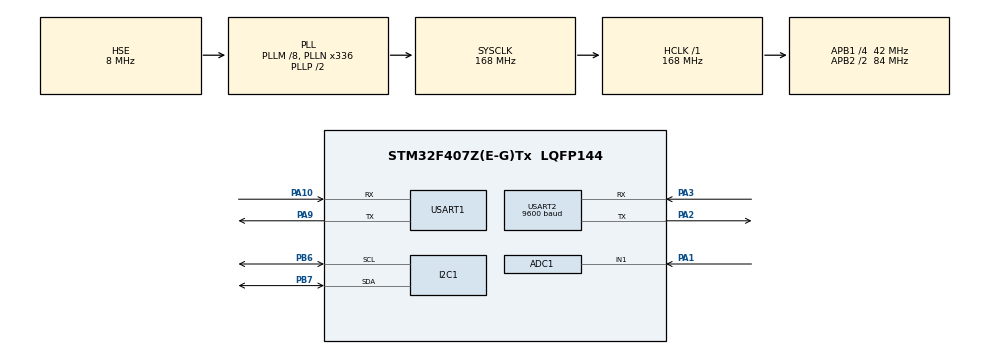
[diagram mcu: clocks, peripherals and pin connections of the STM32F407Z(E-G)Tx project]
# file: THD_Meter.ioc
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ADC1.Channel-2\#ChannelRegularConversion=ADC_CHANNEL_1
ADC1.DMAContinuousRequests=ENABLE
ADC1.ExternalTrigConv=ADC_EXTERNALTRIGCONV_T3_TRGO
ADC1.InjNumberOfConversion=0
ADC1.NbrOfConversionFlag=1
ADC1.Rank-2\#ChannelRegularConversion=1
ADC1.SamplingTime-2\#ChannelRegularConversion=ADC_SAMPLETIME_84CYCLES
ADC1.master=1
Dma.ADC1.0.Direction=DMA_PERIPH_TO_MEMORY
Dma.ADC1.0.FIFOMode=DMA_FIFOMODE_DISABLE
Dma.ADC1.0.Instance=DMA2_Stream0
Dma.ADC1.0.MemDataAlignment=DMA_MDATAALIGN_HALFWORD
Dma.ADC1.0.MemInc=DMA_MINC_ENABLE
Dma.ADC1.0.Mode=DMA_CIRCULAR
Dma.ADC1.0.PeriphDataAlignment=DMA_PDATAALIGN_HALFWORD
Dma.ADC1.0.PeriphInc=DMA_PINC_DISABLE
Dma.ADC1.0.Priority=DMA_PRIORITY_LOW
Dma.Request0=ADC1
Mcu.Family=STM32F4
Mcu.Name=STM32F407Z(E-G)Tx
Mcu.Package=LQFP144
NVIC.DMA2_Stream0_IRQn=true\:0\:0\:false\:false\:true\:false\:true\:true
NVIC.PriorityGroup=NVIC_PRIORITYGROUP_4
PA1.Signal=ADCx_IN1
PA10.Mode=Asynchronous
PA10.Signal=USART1_RX
PA2.Mode=Asynchronous
PA2.Signal=USART2_TX
PA3.Mode=Asynchronous
PA3.Signal=USART2_RX
PA9.Mode=Asynchronous
PA9.Signal=USART1_TX
PB6.Mode=I2C
PB6.Signal=I2C1_SCL
PB7.Mode=I2C
PB7.Signal=I2C1_SDA
PH0-OSC_IN.Mode=HSE-External-Oscillator
PH0-OSC_IN.Signal=RCC_OSC_IN
PH1-OSC_OUT.Mode=HSE-External-Oscillator
PH1-OSC_OUT.Signal=RCC_OSC_OUT
ProjectManager.HeapSize=0x200
ProjectManager.StackSize=0x400
ProjectManager.TargetToolchain=STM32CubeIDE
RCC.48MHZClocksFreq_Value=84000000
RCC.AHBFreq_Value=168000000
RCC.APB1CLKDivider=RCC_HCLK_DIV4
RCC.APB1Freq_Value=42000000
RCC.APB1TimFreq_Value=84000000
RCC.APB2CLKDivider=RCC_HCLK_DIV2
RCC.APB2Freq_Value=84000000
RCC.APB2TimFreq_Value=168000000
RCC.CortexFreq_Value=168000000
RCC.HCLKFreq_Value=168000000
RCC.HSE_VALUE=8000000
RCC.HSI_VALUE=16000000
RCC.LSE_VALUE=32768
RCC.PLLM=8
RCC.PLLN=336
RCC.PLLSourceVirtual=RCC_PLLSOURCE_HSE
RCC.SYSCLKFreq_VALUE=168000000
RCC.SYSCLKSource=RCC_SYSCLKSOURCE_PLLCLK
RCC.VCOOutputFreq_Value=336000000
SH.ADCx_IN1.0=ADC1_IN1,IN1
TIM3.Period=9
TIM3.Prescaler=83
TIM3.TIM_MasterOutputTrigger=TIM_TRGO_UPDATE
USART1.VirtualMode=VM_ASYNC
USART2.BaudRate=9600
USART2.VirtualMode=VM_ASYNC
VP_TIM3_VS_ClockSourceINT.Mode=Internal
board=custom

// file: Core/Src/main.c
/* USER CODE BEGIN Header */
/**
  ******************************************************************************
  * @file           : main.c
  * @brief          : Main program body
  ******************************************************************************
  * @attention
  *
  * Copyright (c) 2026 STMicroelectronics.
  * All rights reserved.
  *
  * This software is licensed under terms that can be found in the LICENSE file
  * in the root directory of this software component.
  * If no LICENSE file comes with this software, it is provided AS-IS.
  *
  ******************************************************************************
  */
/* USER CODE END Header */
#include "main.h"

/* USER CODE BEGIN Includes */
#include <stdio.h>
#include <math.h>
#include <string.h>
/* USER CODE END Includes */

/* USER CODE BEGIN PD */
#define ADC_BUF_SIZE 1024
#define FFT_SIZE 1024
#define SAMPLE_RATE 100000

/* SH1106 OLED (I2C) */
#define OLED_ADDR 0x3C
#define OLED_I2C_ADDR (OLED_ADDR << 1)
#define OLED_WIDTH 128
#define OLED_HEIGHT 64
#define OLED_PAGES (OLED_HEIGHT / 8)

/* 1 = 软件自测链路（假信号�? adc_buf），0 = 真实 ADC 采样 */
#define USE_ADC_SELF_TEST 0
#define USE_HANN_WINDOW 1

/* 调试打印开关：ADC raw / VREFINT 等联调打印，出报告时关掉 */
#define USE_DEBUG_PRINT 1
/* 0 = 一键测量（按 PA0 按键或串口发任意字符，才测一次）；1 = 连续测量（台上调试方便） */
#define USE_CONTINUOUS 0
/* 开机读一次内部 VREFINT 自检。注意：它内部会 HAL_ADC_Stop()，
 * 实测会干扰后面的 DMA 采集（导致 adc_buf 恒 0），平时务必保持 0！ */
#define USE_VREFINT_SELFTEST 0

/* 【基础/发挥 切换开关】这里只决定“上电默认模式”：
 *   0 = 基础部分：基频固定 1kHz、采样率固定约 102.4kHz（相干采样），多帧平均
 *   1 = 发挥部分：500Hz~50kHz 任意频率，两遍自适应采样率精测（走 measure_thd_auto）
 * 运行中可长按 PA0（≥0.8s）在两种模式间来回切换（见 wait_for_trigger）。 */
#define USE_ADVANCED_MODE 1

/* 蓝牙发送一周期波形。发挥部分手机显示波形需要它；
 * 若只想看 THD/频率/谐波结果，改成 0 可省掉约 0.8s 的串口发送时间。 */
#define BT_SEND_WAVE 1

/* 蓝牙波形格式：
 *   1 = bt_mcu App 二进制数据包（A5 + float32 + 校验 + 5A），
 *       手机 App 必须切到“专业调试”，配好接收数据包和 Y-T 波形控件；
 *   0 = 旧 ASCII 文本帧 "W,v0,...,v63\r\n"（普通串口助手/对话模式可读）。 */
#define BT_WAVE_FORMAT 1
/* 每周期发 50 点：App 默认窗口 100 点 → 显示约两个周期；
 * 每个点都要连带 6 个结果 float（共 31 字节），50 点约 1.6s，100 点会超过 3s。 */
#define BT_WAVE_POINTS 50

/* 多帧功率谱平均(Welch)：采 AVG_FRAMES 帧、平均“功率谱”后再算 THD，
 * 随机噪声地板降 1/√K（K=16 → 降 4 倍）。大信号(600mV)读数不变，
 * 收益主要在小信号档(30mV)。 */
#define AVG_FRAMES 16

/* 【Phase E 一键启动】板载按键：默认按常见 KEY_UP 接法（PA0，按下=高电平）。
 * 若你的板子按键在别的脚 / 以低电平为按下，改下面两行 + BTN_PRESSED 即可。 */
#define BTN_PORT     GPIOA
#define BTN_PIN      GPIO_PIN_0
#define BTN_PRESSED  GPIO_PIN_SET
#define LONG_PRESS_MS 800u   /* 按住超过这个时间 = 长按，切换基础/发挥模式 */

/* 波形还原显示区：OLED 底部 32 像素（page 4~7） */
#define WAVE_Y0 32
#define WAVE_H  32
#define WAVE_X  128
/* USER CODE END PD */

ADC_HandleTypeDef hadc1;
DMA_HandleTypeDef hdma_adc1;

I2C_HandleTypeDef hi2c1;

TIM_HandleTypeDef htim3;

UART_HandleTypeDef huart1;
UART_HandleTypeDef huart2;

/* USER CODE BEGIN PV */
uint16_t adc_buf[ADC_BUF_SIZE];
uint16_t adc_snap[ADC_BUF_SIZE];        /* 计算用快照：DMA 暂停时整帧拷出，算频谱/波形都读它 */
float fft_re[FFT_SIZE];
float fft_im[FFT_SIZE];
float fft_mag[FFT_SIZE / 2];
float g_thd;
float g_fund_freq;
float g_harm[5];
uint32_t g_sample_rate = SAMPLE_RATE;   /* 当前实际采样率：被 set_sample_rate 改，频率换算用它 */
int g_f0_bin = 0;                        /* 最近一次检测到的基波整数 bin（诊断用） */
volatile uint8_t g_advanced_mode = USE_ADVANCED_MODE;  /* 运行模式：1=发挥，0=基础；长按切换 */
static uint8_t oled_buf[OLED_PAGES][OLED_WIDTH];
static uint8_t oled_tx_buf[OLED_WIDTH + 1];
/* USER CODE END PV */

void SystemClock_Config(void);
static void MX_GPIO_Init(void);
static void MX_DMA_Init(void);
static void MX_USART1_UART_Init(void);
static void MX_TIM3_Init(void);
static void MX_I2C1_Init(void);
static void MX_ADC1_Init(void);
static void MX_USART2_UART_Init(void);

/* USER CODE BEGIN 0 */
int __io_putchar(int ch)
{
  HAL_UART_Transmit(&huart1, (uint8_t *)&ch, 1, HAL_MAX_DELAY);
  return ch;
}

/* ==================== SH1106 OLED 驱动（I2C�? ==================== */

/* 8x8 点阵字库，ASCII 0x20~0x7E，每行一个字节，bit7 在最左边 */
static const uint8_t font8x8[95][8] = {
  {0x00,0x00,0x00,0x00,0x00,0x00,0x00,0x00}, /* ' ' */
  {0x18,0x3C,0x3C,0x18,0x18,0x00,0x18,0x00}, /* '!' */
  {0x36,0x36,0x00,0x00,0x00,0x00,0x00,0x00}, /* '"' */
  {0x36,0x36,0x7F,0x36,0x7F,0x36,0x36,0x00}, /* '#' */
  {0x0C,0x3E,0x03,0x1E,0x30,0x1F,0x0C,0x00}, /* '$' */
  {0x00,0x63,0x33,0x18,0x0C,0x66,0x63,0x00}, /* '%' */
  {0x1C,0x36,0x1C,0x6E,0x3B,0x33,0x6E,0x00}, /* '&' */
  {0x06,0x06,0x03,0x00,0x00,0x00,0x00,0x00}, /* ''' */
  {0x18,0x0C,0x06,0x06,0x06,0x0C,0x18,0x00}, /* '(' */
  {0x06,0x0C,0x18,0x18,0x18,0x0C,0x06,0x00}, /* ')' */
  {0x00,0x66,0x3C,0xFF,0x3C,0x66,0x00,0x00}, /* '*' */
  {0x00,0x0C,0x0C,0x3F,0x0C,0x0C,0x00,0x00}, /* '+' */
  {0x00,0x00,0x00,0x00,0x00,0x0C,0x0C,0x06}, /* ',' */
  {0x00,0x00,0x00,0x3F,0x00,0x00,0x00,0x00}, /* '-' */
  {0x00,0x00,0x00,0x00,0x00,0x0C,0x0C,0x00}, /* '.' */
  {0x60,0x30,0x18,0x0C,0x06,0x03,0x01,0x00}, /* '/' */
  {0x3E,0x63,0x73,0x7B,0x6F,0x67,0x3E,0x00}, /* '0' */
  {0x0C,0x0E,0x0C,0x0C,0x0C,0x0C,0x3F,0x00}, /* '1' */
  {0x1E,0x33,0x30,0x1C,0x06,0x33,0x3F,0x00}, /* '2' */
  {0x1E,0x33,0x30,0x1C,0x30,0x33,0x1E,0x00}, /* '3' */
  {0x38,0x3C,0x36,0x33,0x7F,0x30,0x78,0x00}, /* '4' */
  {0x3F,0x03,0x1F,0x30,0x30,0x33,0x1E,0x00}, /* '5' */
  {0x1C,0x06,0x03,0x1F,0x33,0x33,0x1E,0x00}, /* '6' */
  {0x3F,0x33,0x30,0x18,0x0C,0x0C,0x0C,0x00}, /* '7' */
  {0x1E,0x33,0x33,0x1E,0x33,0x33,0x1E,0x00}, /* '8' */
  {0x1E,0x33,0x33,0x3E,0x30,0x18,0x0E,0x00}, /* '9' */
  {0x00,0x0C,0x0C,0x00,0x00,0x0C,0x0C,0x00}, /* ':' */
  {0x00,0x0C,0x0C,0x00,0x00,0x0C,0x0C,0x06}, /* ';' */
  {0x18,0x0C,0x06,0x03,0x06,0x0C,0x18,0x00}, /* '<' */
  {0x00,0x00,0x3F,0x00,0x00,0x3F,0x00,0x00}, /* '=' */
  {0x06,0x0C,0x18,0x30,0x18,0x0C,0x06,0x00}, /* '>' */
  {0x1E,0x33,0x30,0x18,0x0C,0x00,0x0C,0x00}, /* '?' */
  {0x3E,0x63,0x7B,0x7B,0x7B,0x03,0x1E,0x00}, /* '@' */
  {0x0C,0x1E,0x33,0x33,0x3F,0x33,0x33,0x00}, /* 'A' */
  {0x3F,0x66,0x66,0x3E,0x66,0x66,0x3F,0x00}, /* 'B' */
  {0x3C,0x66,0x03,0x03,0x03,0x66,0x3C,0x00}, /* 'C' */
  {0x1F,0x36,0x66,0x66,0x66,0x36,0x1F,0x00}, /* 'D' */
  {0x7F,0x46,0x16,0x1E,0x16,0x46,0x7F,0x00}, /* 'E' */
  {0x7F,0x46,0x16,0x1E,0x16,0x06,0x0F,0x00}, /* 'F' */
  {0x3C,0x66,0x03,0x03,0x73,0x66,0x7C,0x00}, /* 'G' */
  {0x33,0x33,0x33,0x3F,0x33,0x33,0x33,0x00}, /* 'H' */
  {0x1E,0x0C,0x0C,0x0C,0x0C,0x0C,0x1E,0x00}, /* 'I' */
  {0x78,0x30,0x30,0x30,0x33,0x33,0x1E,0x00}, /* 'J' */
  {0x67,0x66,0x36,0x1E,0x36,0x66,0x67,0x00}, /* 'K' */
  {0x0F,0x06,0x06,0x06,0x46,0x66,0x7F,0x00}, /* 'L' */
  {0x63,0x77,0x7F,0x7F,0x6B,0x63,0x63,0x00}, /* 'M' */
  {0x63,0x67,0x6F,0x7B,0x73,0x63,0x63,0x00}, /* 'N' */
  {0x1C,0x36,0x63,0x63,0x63,0x36,0x1C,0x00}, /* 'O' */
  {0x3F,0x66,0x66,0x3E,0x06,0x06,0x0F,0x00}, /* 'P' */
  {0x1E,0x33,0x33,0x33,0x3B,0x1E,0x38,0x00}, /* 'Q' */
  {0x3F,0x66,0x66,0x3E,0x36,0x66,0x67,0x00}, /* 'R' */
  {0x1E,0x33,0x07,0x0E,0x38,0x33,0x1E,0x00}, /* 'S' */
  {0x3F,0x2D,0x0C,0x0C,0x0C,0x0C,0x1E,0x00}, /* 'T' */
  {0x33,0x33,0x33,0x33,0x33,0x33,0x3F,0x00}, /* 'U' */
  {0x33,0x33,0x33,0x33,0x33,0x1E,0x0C,0x00}, /* 'V' */
  {0x63,0x63,0x63,0x6B,0x7F,0x77,0x63,0x00}, /* 'W' */
  {0x63,0x63,0x36,0x1C,0x1C,0x36,0x63,0x00}, /* 'X' */
  {0x33,0x33,0x33,0x1E,0x0C,0x0C,0x1E,0x00}, /* 'Y' */
  {0x7F,0x63,0x31,0x18,0x4C,0x66,0x7F,0x00}, /* 'Z' */
  {0x1E,0x06,0x06,0x06,0x06,0x06,0x1E,0x00}, /* '[' */
  {0x03,0x06,0x0C,0x18,0x30,0x60,0x40,0x00}, /* '\' */
  {0x1E,0x18,0x18,0x18,0x18,0x18,0x1E,0x00}, /* ']' */
  {0x08,0x1C,0x36,0x63,0x00,0x00,0x00,0x00}, /* '^' */
  {0x00,0x00,0x00,0x00,0x00,0x00,0x00,0xFF}, /* '_' */
  {0x0C,0x0C,0x18,0x00,0x00,0x00,0x00,0x00}, /* '`' */
  {0x00,0x00,0x1E,0x30,0x3E,0x33,0x6E,0x00}, /* 'a' */
  {0x07,0x06,0x06,0x3E,0x66,0x66,0x3B,0x00}, /* 'b' */
  {0x00,0x00,0x1E,0x33,0x03,0x33,0x1E,0x00}, /* 'c' */
  {0x38,0x30,0x30,0x3E,0x33,0x33,0x6E,0x00}, /* 'd' */
  {0x00,0x00,0x1E,0x33,0x3F,0x03,0x1E,0x00}, /* 'e' */
  {0x1C,0x36,0x06,0x0F,0x06,0x06,0x0F,0x00}, /* 'f' */
  {0x00,0x00,0x6E,0x33,0x33,0x3E,0x30,0x1F}, /* 'g' */
  {0x07,0x06,0x36,0x6E,0x66,0x66,0x67,0x00}, /* 'h' */
  {0x0C,0x00,0x0E,0x0C,0x0C,0x0C,0x1E,0x00}, /* 'i' */
  {0x30,0x00,0x30,0x30,0x30,0x33,0x33,0x1E}, /* 'j' */
  {0x07,0x06,0x66,0x36,0x1E,0x36,0x67,0x00}, /* 'k' */
  {0x0E,0x0C,0x0C,0x0C,0x0C,0x0C,0x1E,0x00}, /* 'l' */
  {0x00,0x00,0x33,0x7F,0x7F,0x6B,0x63,0x00}, /* 'm' */
  {0x00,0x00,0x1F,0x33,0x33,0x33,0x33,0x00}, /* 'n' */
  {0x00,0x00,0x1E,0x33,0x33,0x33,0x1E,0x00}, /* 'o' */
  {0x00,0x00,0x3B,0x66,0x66,0x3E,0x06,0x0F}, /* 'p' */
  {0x00,0x00,0x6E,0x33,0x33,0x3E,0x30,0x78}, /* 'q' */
  {0x00,0x00,0x3B,0x6E,0x66,0x06,0x0F,0x00}, /* 'r' */
  {0x00,0x00,0x3E,0x03,0x1E,0x30,0x1F,0x00}, /* 's' */
  {0x08,0x0C,0x3E,0x0C,0x0C,0x2C,0x18,0x00}, /* 't' */
  {0x00,0x00,0x33,0x33,0x33,0x33,0x6E,0x00}, /* 'u' */
  {0x00,0x00,0x33,0x33,0x33,0x1E,0x0C,0x00}, /* 'v' */
  {0x00,0x00,0x63,0x6B,0x7F,0x7F,0x36,0x00}, /* 'w' */
  {0x00,0x00,0x63,0x36,0x1C,0x36,0x63,0x00}, /* 'x' */
  {0x00,0x00,0x33,0x33,0x33,0x3E,0x30,0x1F}, /* 'y' */
  {0x00,0x00,0x3F,0x19,0x0C,0x26,0x3F,0x00}, /* 'z' */
  {0x38,0x0C,0x0C,0x07,0x0C,0x0C,0x38,0x00}, /* '{' */
  {0x18,0x18,0x18,0x00,0x18,0x18,0x18,0x00}, /* '|' */
  {0x07,0x0C,0x0C,0x38,0x0C,0x0C,0x07,0x00}, /* '}' */
  {0x6E,0x3B,0x00,0x00,0x00,0x00,0x00,0x00}, /* '~' */
};

/* 发一条命令：控制字节 0x00 + 命令字节 */
static void oled_write_cmd(uint8_t cmd)
{
  uint8_t data[2];
  data[0] = 0x00;
  data[1] = cmd;
  HAL_I2C_Master_Transmit(&hi2c1, OLED_I2C_ADDR, data, 2, 50);
}

static void oled_clear(void)
{
  memset(oled_buf, 0, sizeof(oled_buf));
}

/* 把整个帧缓冲刷到屏上�?8 �? page，每�? page �?列起始地�? + 128 字节数据 */
static void oled_update(void)
{
  for (uint8_t page = 0; page < OLED_PAGES; page++)
  {
    oled_write_cmd(0xB0 | page);   /* 页地�? */
    oled_write_cmd(0x02);          /* 列低 4 �? = 2（SH1106 左边�? 2 列空�? */
    oled_write_cmd(0x10);          /* 列高 4 �? = 0 */
    oled_tx_buf[0] = 0x40;         /* 控制字节：数�? */
    memcpy(&oled_tx_buf[1], oled_buf[page], OLED_WIDTH);
    HAL_I2C_Master_Transmit(&hi2c1, OLED_I2C_ADDR, oled_tx_buf, OLED_WIDTH + 1, 50);
  }
}

/* �? (x, page) 画一�? 8x8 字符；page �?"�?"�?0~7），每行 8 像素�? */
static void oled_draw_char(uint8_t x, uint8_t page, char c)
{
  if (c < 0x20 || c > 0x7E) c = ' ';
  const uint8_t *g = font8x8[c - 0x20];
  for (uint8_t row = 0; row < 8; row++)
  {
    uint8_t bits = g[row];               /* 这一行，bit0 在最�? */
    for (uint8_t col = 0; col < 8; col++)
    {
      if (bits & (0x01u << col))
      {
        oled_buf[page][x + col] |= (uint8_t)(1u << row);
      }
    }
  }
}

static void oled_draw_string(uint8_t x, uint8_t page, const char *s)
{
  while (*s)
  {
    oled_draw_char(x, page, *s++);
    x += 8;
    if (x >= OLED_WIDTH - 8) break;
  }
}

/* �? float 转成字符串（保留 decimals 位小数）。nano �? printf 不支�? %f，所以自己写 */
static void oled_ftoa(float value, int decimals, char *out)
{
  char buf[16];
  long pow10[6] = {1, 10, 100, 1000, 10000, 100000};
  if (decimals > 5) decimals = 5;

  int neg = (value < 0.0f);
  if (neg) value = -value;

  long scale = pow10[decimals];
  long ipart = (long)value;
  long fpart = (long)((value - (float)ipart) * (float)scale + 0.5f);
  if (fpart >= scale) { ipart++; fpart = 0; }

  int idx = 0;
  if (neg) buf[idx++] = '-';
  idx += sprintf(&buf[idx], "%ld", ipart);
  if (decimals > 0)
  {
    buf[idx++] = '.';
    for (int i = decimals - 1; i >= 0; i--)
    {
      long d = pow10[i];
      buf[idx++] = (char)('0' + (fpart / d) % 10);
    }
  }
  buf[idx] = '\0';
  strcpy(out, buf);
}

static void oled_init(void)
{
  static const uint8_t init_cmd[] = {
    0xAE,        /* 关显�? */
    0xD5, 0x80,  /* 时钟分频 */
    0xA8, 0x3F,  /* 复用�? 64 */
    0xD3, 0x00,  /* 显示偏移 0 */
    0x40,        /* 起始�? 0 */
    0xAD, 0x8B,  /* 内部 DC-DC �?（SH1106 特有�? */
    0x33,        /* 泵电�? 9.0V */
    0xA0,        /* 段重映射 */
    0xC0,        /* COM 扫描方向 */
    0xDA, 0x12,  /* COM 引脚配置 */
    0x81, 0xCF,  /* 对比�? */
    0xD9, 0xF1,  /* 预充�? */
    0xDB, 0x40,  /* VCOM �?�? */
    0xA4,        /* 关闭全显 */
    0xA6,        /* 正常显示 */
    0xAF,        /* �?显示 */
  };
  for (uint32_t i = 0; i < sizeof(init_cmd); i++)
  {
    oled_write_cmd(init_cmd[i]);
  }
  oled_clear();
  oled_update();
}

/* 迭代�?? radix-2 FFT：输�?? re[]/im[]（复数的实部虚部），原地变换 */
void fft(float *re, float *im, int n)
{
  /* �?? 1 步：位反转重排，把数据按 FFT �??要的顺序摆好 */
  for (int i = 1, j = 0; i < n; i++)
  {
    int bit = n >> 1;
    for (; j & bit; bit >>= 1) j ^= bit;
    j ^= bit;
    if (i < j)
    {
      float tr = re[i]; re[i] = re[j]; re[j] = tr;
      float ti = im[i]; im[i] = im[j]; im[j] = ti;
    }
  }
  /* �?? 2 步：蝶形运算，�?�层合并 */
  for (int len = 2; len <= n; len <<= 1)
  {
    float ang = -2.0f * 3.14159265358979f / len;
    float w_re = cosf(ang), w_im = sinf(ang);
    for (int i = 0; i < n; i += len)
    {
      float cur_re = 1.0f, cur_im = 0.0f;
      for (int k = 0; k < len / 2; k++)
      {
        int a = i + k;
        int b = a + len / 2;
        float tre = re[b] * cur_re - im[b] * cur_im;
        float tim = re[b] * cur_im + im[b] * cur_re;
        re[b] = re[a] - tre;
        im[b] = im[a] - tim;
        re[a] = re[a] + tre;
        im[a] = im[a] + tim;
        float nre = cur_re * w_re - cur_im * w_im;
        cur_im = cur_re * w_im + cur_im * w_re;
        cur_re = nre;
      }
    }
  }
}

/* 自测：软件�?�一个�?�基�??+2~5次谐波�?�的正弦，跑 FFT �?? THD，验证算法对不对 */
void run_fft_self_test(void)
{
  const float fs = 100000.0f;   /* 采样�?? 100kHz */
  const int f0_bin = 10;        /* 基波在第 10 �?? bin，即 976.56Hz */
  const float A1 = 1.0f, A2 = 0.05f, A3 = 0.03f, A4 = 0.02f, A5 = 0.01f;

  for (int n = 0; n < FFT_SIZE; n++)
  {
    float t = 2.0f * 3.14159265358979f * n / FFT_SIZE;
    fft_re[n] = A1 * sinf(f0_bin * t)
              + A2 * sinf(2 * f0_bin * t)
              + A3 * sinf(3 * f0_bin * t)
              + A4 * sinf(4 * f0_bin * t)
              + A5 * sinf(5 * f0_bin * t);
    fft_im[n] = 0.0f;
  }

  fft(fft_re, fft_im, FFT_SIZE);

  for (int k = 0; k < FFT_SIZE / 2; k++)
    fft_mag[k] = sqrtf(fft_re[k] * fft_re[k] + fft_im[k] * fft_im[k]);

  int f0 = 2;
  for (int k = 3; k < FFT_SIZE / 2; k++)
    if (fft_mag[k] > fft_mag[f0]) f0 = k;

  float fund = fft_mag[f0];
  float harm_power = 0.0f;
  for (int h = 2; h <= 5; h++)
    harm_power += fft_mag[f0 * h] * fft_mag[f0 * h];
  float thd = sqrtf(harm_power) / fund;

  printf("=== FFT 自测（软件造正弦）===\r\n");
  printf("基波 bin=%d 频率=%dHz\r\n", f0, (int)(f0 * fs / FFT_SIZE));
  printf("幅度(基波~5次): %d %d %d %d %d\r\n",
         (int)fft_mag[f0], (int)fft_mag[f0*2], (int)fft_mag[f0*3],
         (int)fft_mag[f0*4], (int)fft_mag[f0*5]);
  int t = (int)(thd * 100000.0f + 0.5f);
  printf("THD = %d.%03d%%\r\n", t / 1000, t % 1000);
}

/* 真实测量：读 ADC 缓冲 �?? 去直�?? �?? FFT �?? 找基�?? �?? �?? THD（结果存全局变量�?? */
/* 核心：adc_buf -> 去直流 ->（可选加汉宁窗）-> FFT -> 找基波 -> 算 THD
 * use_window=1 时加汉宁窗，压低非整数 bin 造成的频谱泄漏。
 * 谐波幅值用"主瓣能量求和"：在峰值附近 +/-2 个 bin 内累加能量，
 * 这样基频/谐波落在格子中间时也不会少算。结果存 g_thd/g_fund_freq/g_harm */
/* 设置 ADC 采样率：Fs = 84MHz / ((PSC+1)(ARR+1))，反算 TIM3 分频。
 * 定时器时钟 = 168MHz(APB1分频≠1时×2)... 实际 APB1=PCLK1*2 = 42MHz*2 = 84MHz。
 * 84MHz 只能整数分频，实际 Fs 取最近可达值；返回实际采样率（频率换算必须用它）。*/
uint32_t set_sample_rate(uint32_t fs_target)
{
  const uint32_t TIM_CLK = 84000000u;         /* APB1 定时器时钟 */
  if (fs_target < 1300u)       fs_target = 1300u;     /* ARR 上限 65536 → 最低 Fs */
  if (fs_target > TIM_CLK / 2u) fs_target = TIM_CLK / 2u;

  uint32_t k = (TIM_CLK + fs_target / 2u) / fs_target; /* 四舍五入求分频数 */
  if (k < 2u) k = 2u;
  if (k > 65536u) k = 65536u;

  htim3.Instance->PSC = 0u;                   /* 分频全放 ARR，分辨率最高 */
  htim3.Instance->ARR = k - 1u;
  htim3.Init.Prescaler = 0u;
  htim3.Init.Period = k - 1u;

  g_sample_rate = TIM_CLK / k;                /* 实际采样率 */
  return g_sample_rate;
}

/* 整帧快照：ADC 只由 TIM3 TRGO 触发，暂停 TIM3 就等于暂停采样。
 * ⚠️ 环形 DMA 里存的是"最近 N 点"的循环版本：物理上的“新旧接缝”
 *    （最新点与最老点之间差了整整一圈）落在数组中间的随机位置。
 *    汉宁窗两端为 0，若接缝在数组首尾会被压掉；若在中间，这个相位跳变
 *    会被窗完整加权 → 主瓣展宽、±2bin 抬升、频率被拉偏（非整数周期/帧时）。
 * 所以：停表 → 等正在进行的转换完成 → 读 NDTR 得到下一写入位置 k（=最老点），
 *       从 k 开始环形拷出，把接缝放到数组首尾（窗零点处）。 */
static void adc_snapshot(void)
{
  __HAL_TIM_DISABLE(&htim3);

  /* 等最后一次已触发的转换完成（ADC 转换约 0.7us），之后 DMA 不再写入 */
  for (volatile int i = 0; i < 600; i++) { __NOP(); }

  uint32_t nd = hdma_adc1.Instance->NDTR;
  uint32_t k = (ADC_BUF_SIZE - nd) & (ADC_BUF_SIZE - 1);   /* 最老样点的下标 */

  for (int n = 0; n < ADC_BUF_SIZE; n++)
  {
    uint32_t idx = (uint32_t)n + k;
    if (idx >= ADC_BUF_SIZE) idx -= ADC_BUF_SIZE;
    adc_snap[n] = adc_buf[idx];
  }
  __HAL_TIM_ENABLE(&htim3);
}

/* 时域过零测频（诊断用）：不依赖 FFT/bin/窗口，直接数快照里向上过零的间隔。
 * 与 FFT 结果对照，可以区分“采样率/硬件问题”还是“频谱分析问题”。 */
static float estimate_freq_zerocross(void)
{
  float mean = 0.0f;
  for (int n = 0; n < ADC_BUF_SIZE; n++) mean += adc_snap[n];
  mean /= (float)ADC_BUF_SIZE;

  int count = 0;
  float first_x = 0.0f, last_x = 0.0f;
  for (int n = 1; n < ADC_BUF_SIZE; n++)
  {
    float a = (float)adc_snap[n - 1] - mean;
    float b = (float)adc_snap[n] - mean;
    if (a < 0.0f && b >= 0.0f)
    {
      float x = (float)(n - 1) + a / (a - b);   /* 线性插值过零点位置 */
      if (count == 0) first_x = x;
      last_x = x;
      count++;
    }
  }
  if (count < 2) return 0.0f;
  return (float)(count - 1) * (float)g_sample_rate / (last_x - first_x);
}

/* 只做“算频谱”这一步：adc_snap -> 去直流 ->（可选加汉宁窗）-> FFT -> fft_mag[]
 * 单独抽出来是为了多帧平均复用：每帧只算频谱、累加功率。 */
static void compute_spectrum(int use_window)
{
  const float TWO_PI = 6.28318530717959f;

  adc_snapshot();

  /* 去直流，并（可选）加汉宁窗 */
  float mean = 0.0f;
  for (int n = 0; n < FFT_SIZE; n++) mean += adc_snap[n];
  mean /= (float)FFT_SIZE;

  for (int n = 0; n < FFT_SIZE; n++)
  {
    float w = 1.0f;
    if (use_window)
      w = 0.5f * (1.0f - cosf(TWO_PI * (float)n / (float)FFT_SIZE));
    fft_re[n] = ((float)adc_snap[n] - mean) * w;
    fft_im[n] = 0.0f;
  }

  fft(fft_re, fft_im, FFT_SIZE);

  for (int k = 0; k < FFT_SIZE / 2; k++)
    fft_mag[k] = sqrtf(fft_re[k] * fft_re[k] + fft_im[k] * fft_im[k]);
}

/* 只做“分析频谱”这一步：从 fft_mag[] 找基波、算归一化谐波幅值和 THD。
 * 结果存 g_thd/g_fund_freq/g_harm。多帧平均把功率平均好、开方回 fft_mag[] 后也调用它。 */
static void analyze_spectrum(int use_window)
{
  /* 找基波：低频段最大峰 */
  int f0 = 2;
  for (int k = 3; k < FFT_SIZE / 2; k++)
    if (fft_mag[k] > fft_mag[f0]) f0 = k;
  g_f0_bin = f0;

  /* 3) 修正基频频率：基频不落在整数 bin 上也能报准
   *    加汉宁窗时用汉宁窗专属的比值法（精确）：δ=(2R-1)/(R+1)，R=相邻格/峰值格
   *    不加窗时退回抛物线插值 */
  float f0_fine = (float)f0;
  if (f0 > 0 && f0 < FFT_SIZE / 2 - 1)
  {
    if (use_window)
    {
      float peak = fft_mag[f0];
      if (peak > 0.0f)
      {
        if (fft_mag[f0 + 1] >= fft_mag[f0 - 1])
        {
          float R = fft_mag[f0 + 1] / peak;
          f0_fine = (float)f0 + (2.0f * R - 1.0f) / (R + 1.0f);
        }
        else
        {
          float R = fft_mag[f0 - 1] / peak;
          f0_fine = (float)f0 - (2.0f * R - 1.0f) / (R + 1.0f);
        }
      }
    }
    else
    {
      float a = fft_mag[f0 - 1], b = fft_mag[f0], c = fft_mag[f0 + 1];
      float denom = a - 2.0f * b + c;
      if (denom != 0.0f) f0_fine = (float)f0 + 0.5f * (a - c) / denom;
    }
  }
  g_fund_freq = f0_fine * ((float)g_sample_rate / FFT_SIZE);
  g_harm[0] = 1.0f;

  /* 4) 主瓣能量求和（+/-2 bin）取各分量能量，再算归一化幅值与 THD */
  float p1 = 0.0f;
  for (int k = f0 - 2; k <= f0 + 2; k++)
    if (k > 0 && k < FFT_SIZE / 2) p1 += fft_mag[k] * fft_mag[k];

  float harm_power = 0.0f;
  for (int h = 2; h <= 5; h++)
  {
    int approx = (int)((float)f0 * h + 0.5f);
    int lo = approx - 2, hi = approx + 2;
    if (lo < 1) lo = 1;
    if (hi > FFT_SIZE / 2 - 1) hi = FFT_SIZE / 2 - 1;
    int pk = lo;
    for (int k = lo; k <= hi; k++) if (fft_mag[k] > fft_mag[pk]) pk = k;
    float ph = 0.0f;
    for (int k = pk - 2; k <= pk + 2; k++)
      if (k > 0 && k < FFT_SIZE / 2) ph += fft_mag[k] * fft_mag[k];
    g_harm[h - 1] = (p1 > 1.0f) ? sqrtf(ph / p1) : 0.0f;
    harm_power += ph;
  }

  g_thd = (p1 > 1.0f) ? sqrtf(harm_power / p1) : 0.0f;
}

/* 单帧测量：算频谱 + 分析（= 原 compute_thd 的行为，结果完全一致） */
float compute_thd(int use_window)
{
  compute_spectrum(use_window);
  analyze_spectrum(use_window);
  return g_thd;
}

/* 圆形 DMA 一直在后台采：等 >1 帧时间，保证 adc_buf 里全是"当前采样率"下的新数据 */
static void adc_wait_frame(void)
{
  uint32_t ms = (uint32_t)((FFT_SIZE * 1000u) / g_sample_rate) + 5u;
  HAL_Delay(ms);
}

/* 【多帧功率谱平均 Welch】采 frames 帧，累加每帧的功率谱 |X|²，平均后开方回 fft_mag[]，
 * 再走与单帧完全相同的 analyze_spectrum()。
 *   信号（基波+谐波）帧间相干 → 功率是常数，平均后原样保留；
 *   噪声帧间随机 → 平均后地板降 1/√frames（frames=16 → 降 4 倍）。
 * 平均是无偏的：大信号(600mV)读数不变，收益主要在小信号档(30mV)。
 * ⚠️ 必须平均“功率谱”：DMA 圆形缓冲帧间不同相，时域平均会把信号本身抵消掉。 */
float compute_thd_avg(int use_window, int frames)
{
  static float acc[FFT_SIZE / 2];      /* 功率累加器（2KB，放静态区，别占栈） */
  if (frames < 1) frames = 1;

  for (int k = 0; k < FFT_SIZE / 2; k++) acc[k] = 0.0f;
  for (int f = 0; f < frames; f++)
  {
    adc_wait_frame();                  /* 每帧都等一帧“新”数据 */
    compute_spectrum(use_window);
    for (int k = 0; k < FFT_SIZE / 2; k++)
      acc[k] += fft_mag[k] * fft_mag[k];
  }
  for (int k = 0; k < FFT_SIZE / 2; k++)
    fft_mag[k] = sqrtf(acc[k] / (float)frames);   /* 平均功率开方 → 等效“平均后的频谱” */

  analyze_spectrum(use_window);
  return g_thd;
}

/* 【Phase B 发挥核心】两遍自适应采样率 + 加窗，覆盖 500Hz~50kHz：
 *   pass1  用固定 Fs1=150kHz 粗测基频 f0（150k 奈奎斯特 75k > 50kHz，基波不混叠，
 *          且 500Hz 落在 bin3 以上，可被识别）——只为"知道 f0 大概多少"。
 *   选周期数 M：让 pass2 的 Fs2 = f0*N/M 落进 [~60k, 1.4M]，M 取整数（相干采样），
 *          并保证 5 次谐波不混叠（Fs2 ≥ 12·f0 → M ≤ N/12）且每周期 ≥12 点。
 *   pass2  用 Fs2 精测，基波/谐波正好落在整数 bin 上，泄漏最小；实际 TIM3 只能
 *          整数分频、且 f0 估计有误差，相干不完美 → 仍加汉宁窗 + 主瓣求和兜底。
 * 结果：g_thd / g_fund_freq / g_harm（与 compute_thd 同一套全局变量）。*/
void measure_thd_auto(void)
{
  /* ---- pass1：粗测 f0（多帧平均，小信号下 f0 也不会被噪声带偏）---- */
  set_sample_rate(150000u);
  compute_thd_avg(1, AVG_FRAMES);
  float f0 = g_fund_freq;
#if USE_DEBUG_PRINT
  {
    int fb = g_f0_bin;
    if (fb < 2) fb = 2;
    if (fb > FFT_SIZE / 2 - 3) fb = FFT_SIZE / 2 - 3;
    printf("[pass1] Fs=%lu f0=%dHz bin=%d zc=%dHz  m=%lu %lu %lu %lu %lu\r\n",
           (unsigned long)g_sample_rate,
           (int)(f0 + 0.5f), g_f0_bin,
           (int)(estimate_freq_zerocross() + 0.5f),
           (unsigned long)fft_mag[fb - 2], (unsigned long)fft_mag[fb - 1],
           (unsigned long)fft_mag[fb], (unsigned long)fft_mag[fb + 1],
           (unsigned long)fft_mag[fb + 2]);
  }
#endif
  if (f0 < 100.0f) f0 = 100.0f;          /* 保护：没测到基波时退回偏低值，M 会被夹到上限 */

  /* ---- 选整数周期数 M ---- */
  int M_min = (int)ceilf(f0 * (float)FFT_SIZE / 1400000.0f);  /* Fs2 ≤ 1.4MHz */
  if (M_min < 8) M_min = 8;              /* M≥8：基波与 2 次谐波至少隔 8 个 bin，主瓣不糊在一起 */
  int M_max = FFT_SIZE / 12;             /* =85：Fs2 ≥ 12·f0，5 次谐波(5f0)不混叠，每周期≥12点 */
  if (M_max < M_min) M_max = M_min;
  int M = (int)(f0 * (float)FFT_SIZE / 450000.0f + 0.5f);     /* 目标 Fs2≈450kHz（分辨率和余量都舒服） */
  if (M < M_min) M = M_min;
  if (M > M_max) M = M_max;

  uint32_t fs2 = (uint32_t)(f0 * (float)FFT_SIZE / (float)M + 0.5f);

  /* ---- pass2：精测（同样多帧功率谱平均，压低小信号噪声地板）---- */
  set_sample_rate(fs2);                  /* 写 TIM3；实际可达 Fs 存 g_sample_rate */
#if USE_DEBUG_PRINT
  printf("[pass2] M=%d fs_target=%lu fs=%lu\r\n",
         M, (unsigned long)fs2, (unsigned long)g_sample_rate);
#endif
  compute_thd_avg(1, AVG_FRAMES);        /* g_thd/g_fund_freq/g_harm 就绪 */
}

/* 【调试】临时读一次芯片内部 VREFINT 通道，判断 ADC 内核 + 参考电压(VDDA) 是否正常。
 * 完全不用接任何外部线；健康时约 1.21V -> 约 1500 个码字。
 * 用完把 ADC 恢复成 PA1 通道 + 上升沿外部触发。 */
uint32_t adc_read_vrefint_raw(void)
{
  ADC_ChannelConfTypeDef cfg = {0};
  uint32_t val = 0xFFFFFFFFu;

  HAL_ADC_Stop(&hadc1);

  /* 打开内部基准通路，等它上电稳定，再临时改成软件触发 */
  ADC->CCR |= ADC_CCR_TSVREFE;
  HAL_Delay(20u);
  hadc1.Instance->CR2 &= ~ADC_CR2_EXTEN;

  cfg.Channel = ADC_CHANNEL_VREFINT;
  cfg.Rank = 1;
  cfg.SamplingTime = ADC_SAMPLETIME_480CYCLES;
  if (HAL_ADC_ConfigChannel(&hadc1, &cfg) == HAL_OK)
  {
    for (int i = 0; i < 3; i++)   /* 连读 3 次，丢掉前几次预热值 */
    {
      if (HAL_ADC_Start(&hadc1) == HAL_OK)
      {
        if (HAL_ADC_PollForConversion(&hadc1, 20u) == HAL_OK)
          val = HAL_ADC_GetValue(&hadc1);
        HAL_ADC_Stop(&hadc1);
      }
    }
  }

  /* 恢复：PA1 通道 + 上升沿外部触发 */
  cfg.Channel = ADC_CHANNEL_1;
  cfg.Rank = 1;
  cfg.SamplingTime = ADC_SAMPLETIME_3CYCLES;
  HAL_ADC_ConfigChannel(&hadc1, &cfg);
  hadc1.Instance->CR2 |= ADC_CR2_EXTEN_0;

  return val;
}

/* 链路自测：软件�??"基波 + 2~5次谐�?"�? adc_buf，走 measure_thd()�?
 * 验证 FFT->THD->显示 整条链（不经过真�? ADC 硬件）�??
 * 期望：THD �? 6.245%，基�? �? 976.6Hz（bin=10�? */
void run_adc_chain_self_test(void)
{
  const float A1 = 400.0f;
  const float f0b = 10.24f;   /* 1000Hz：故意落在非整数 bin，模拟真机 1kHz 的频谱泄漏 */
  const float h2 = 0.05f, h3 = 0.03f, h4 = 0.02f, h5 = 0.01f;
  for (int n = 0; n < ADC_BUF_SIZE; n++)
  {
    float t = 2.0f * 3.14159265358979f * n / ADC_BUF_SIZE;
    float v = 2048.0f
            + A1 * sinf(f0b * t)
            + h2 * A1 * sinf(2.0f * f0b * t)
            + h3 * A1 * sinf(3.0f * f0b * t)
            + h4 * A1 * sinf(4.0f * f0b * t)
            + h5 * A1 * sinf(5.0f * f0b * t);
    if (v < 0.0f) v = 0.0f;
    if (v > 4095.0f) v = 4095.0f;
    adc_buf[n] = (uint16_t)(v + 0.5f);
  }
}

/* 【Phase B 自测】纯软件验证"两遍自适应采样率"逻辑（不接硬件）：
 * 对一组真值频率，按当前 g_sample_rate 合成"基波+2~5次谐波"填 adc_buf，
 * 跑完整 pass1→选 M→pass2 流程，打印测得的 f0 与 THD（理论 THD=6.245%）。
 * 用它验证：M 选择、TIM3 整数分频后的相干残差、加窗兜底是否达标。
 * 注意：必须先 set_sample_rate() 再 synth()，否则合成用的是旧采样率。 */
static void synth_signal(float f_true, float amp)
{
  const float h2 = 0.05f, h3 = 0.03f, h4 = 0.02f, h5 = 0.01f;
  for (int n = 0; n < ADC_BUF_SIZE; n++)
  {
    float ph = 6.28318530717959f * f_true * (float)n / (float)g_sample_rate;
    float v = 2048.0f + amp * (sinf(ph)
             + h2 * sinf(2.0f * ph) + h3 * sinf(3.0f * ph)
             + h4 * sinf(4.0f * ph) + h5 * sinf(5.0f * ph));
    if (v < 0.0f) v = 0.0f;
    if (v > 4095.0f) v = 4095.0f;
    adc_buf[n] = (uint16_t)(v + 0.5f);
  }
}

void run_auto_selftest(void)
{
  const float freqs[] = { 500.0f, 1000.0f, 5000.0f, 10000.0f, 50000.0f };
  const int NF = (int)(sizeof(freqs) / sizeof(freqs[0]));
  printf("=== Phase B 自适应采样率自测（理论 THD=6.245%%）===\r\n");
  for (int i = 0; i < NF; i++)
  {
    float f = freqs[i];
    /* pass1 */
    set_sample_rate(150000u);
    synth_signal(f, 400.0f);
    compute_thd(1);
    float f0_est = g_fund_freq;
    /* 选 M（与 measure_thd_auto 同一套规则） */
    int M_min = (int)ceilf(f0_est * (float)FFT_SIZE / 1400000.0f);
    if (M_min < 8) M_min = 8;
    int M_max = FFT_SIZE / 12;
    if (M_max < M_min) M_max = M_min;
    int M = (int)(f0_est * (float)FFT_SIZE / 450000.0f + 0.5f);
    if (M < M_min) M = M_min;
    if (M > M_max) M = M_max;
    uint32_t fs2 = (uint32_t)(f0_est * (float)FFT_SIZE / (float)M + 0.5f);
    /* pass2 */
    set_sample_rate(fs2);
    synth_signal(f, 400.0f);
    float thd = compute_thd(1) * 100.0f;
    printf("f=%5dHz: pass1 f0=%5d M=%2d Fs2=%6lu -> f0=%5dHz THD=%d.%03d%%\r\n",
           (int)f, (int)f0_est, M, (unsigned long)g_sample_rate,
           (int)g_fund_freq, (int)thd, (int)((thd - (float)(int)thd) * 1000.0f + 0.5f));
  }
  set_sample_rate(SAMPLE_RATE);   /* 复位默认采样率 */
}

/* ==================== 波形还原：显示 1 个周期 ==================== */

/* 画归一化谐波幅值：3 位小数、去掉前导 0（0.050 -> .050），省显示宽度 */
static void oled_draw_harm(uint8_t x, uint8_t page, float v)
{
  char buf[16];
  oled_ftoa(v, 3, buf);
  if (v < 1.0f && buf[0] == '0')
    oled_draw_string(x, page, &buf[1]);
  else
    oled_draw_string(x, page, buf);
}

/* 在线性插值位置 idx 处取 adc_snap 的值（已去直流 mean） */
static float adc_sample_at(float idx, float mean)
{
  int i0 = (int)idx;
  float frac = idx - (float)i0;
  if (i0 < 0) { i0 = 0; frac = 0.0f; }
  if (i0 >= ADC_BUF_SIZE - 1) { i0 = ADC_BUF_SIZE - 2; frac = 1.0f; }
  float a = (float)adc_snap[i0] - mean;
  float b = (float)adc_snap[i0 + 1] - mean;
  return a + (b - a) * frac;
}

/* 在 OLED 底部画 1 个周期的波形（128 列宽 x 32 像素高） */
void draw_waveform(void)
{
  if (g_fund_freq < 1.0f) return;

  /* 求均值做去直流（用快照，和频谱是同一帧） */
  float mean = 0.0f;
  for (int n = 0; n < ADC_BUF_SIZE; n++) mean += adc_snap[n];
  mean /= (float)ADC_BUF_SIZE;

  /* 触发点：第一个"从负变正"穿过中线的采样点，作为周期起点（类似示波器触发） */
  int start = 0;
  for (int n = 1; n < ADC_BUF_SIZE; n++)
  {
    if (((float)adc_snap[n] - mean) >= 0.0f && ((float)adc_snap[n - 1] - mean) < 0.0f)
    { start = n; break; }
  }

  /* 一个周期对应多少采样点 */
  float spp = (float)g_sample_rate / g_fund_freq;

  /* 算出 128 列的值，并统计峰峰用于自适应纵向缩放 */
  static float col[WAVE_X];
  float vmin = 1e9f, vmax = -1e9f;
  for (int x = 0; x < WAVE_X; x++)
  {
    float idx = (float)start + (float)x * spp / (float)WAVE_X;
    float v = adc_sample_at(idx, mean);
    col[x] = v;
    if (v < vmin) vmin = v;
    if (v > vmax) vmax = v;
  }
  float vpp = vmax - vmin;
  if (vpp < 1.0f) vpp = 1.0f;

  /* 逐列打点：把 vmin..vmax 映射到波形区底部..顶部 */
  const int y_bot = WAVE_Y0 + WAVE_H - 1;
  for (int x = 0; x < WAVE_X; x++)
  {
    int y = y_bot - (int)((col[x] - vmin) / vpp * (float)(WAVE_H - 1) + 0.5f);
    if (y < WAVE_Y0) y = WAVE_Y0;
    if (y > y_bot) y = y_bot;
    oled_buf[y >> 3][x] |= (uint8_t)(1u << (y & 7));
  }
}

/* Send THD result to phone over Bluetooth (USART2 / JDY-31) */
void bt_send_result(void)
{
  char line[128];
  int thd_p2 = (int)(g_thd * 10000.0f + 0.5f);   /* THD% x 100 */
  int h2 = (int)(g_harm[1] * 1000.0f + 0.5f);    /* x 1000 */
  int h3 = (int)(g_harm[2] * 1000.0f + 0.5f);
  int h4 = (int)(g_harm[3] * 1000.0f + 0.5f);
  int h5 = (int)(g_harm[4] * 1000.0f + 0.5f);
  int len = snprintf(line, sizeof(line),
                     "THD=%d.%02d%% f0=%dHz\r\n"
                     "H1=1.000 H2=%d.%03d H3=%d.%03d H4=%d.%03d H5=%d.%03d\r\n",
                     thd_p2 / 100, thd_p2 % 100, (int)g_fund_freq,
                     h2 / 1000, h2 % 1000, h3 / 1000, h3 % 1000,
                     h4 / 1000, h4 % 1000, h5 / 1000, h5 % 1000);
  HAL_UART_Transmit(&huart2, (uint8_t *)line, (uint16_t)len, HAL_MAX_DELAY);
}

/* bt_mcu App 数据包（固定 7 个 float）：
 *   A5 | float0..float6（每个 4 字节，小端） | 校验和 | 5A
 *   校验和 = 全部数据字节之和 & 0xFF。
 * 字段顺序：0=波形  1=THD(%)  2=f0(Hz)  3=H2  4=H3  5=H4  6=H5
 * App 端把“接收数据包”配成 7*float（共 31 字节），
 * 波形控件链接 FLOAT0，文本框分别链接 FLOAT1~FLOAT6。 */
static void bt_send_measure_packet(float wave)
{
  float vals[7];
  vals[0] = wave;
  vals[1] = g_thd * 100.0f;
  vals[2] = g_fund_freq;
  vals[3] = g_harm[1];
  vals[4] = g_harm[2];
  vals[5] = g_harm[3];
  vals[6] = g_harm[4];

  uint8_t pkt[3 + 7 * 4];
  uint8_t sum = 0;
  int p = 0;
  pkt[p++] = 0xA5;
  for (int i = 0; i < 7; i++)
  {
    union { float f; uint32_t u; } cv;
    cv.f = vals[i];
    for (int b = 0; b < 4; b++)
    {
      uint8_t byte = (uint8_t)((cv.u >> (8 * b)) & 0xFFu);
      pkt[p++] = byte;
      sum += byte;
    }
  }
  pkt[p++] = sum;
  pkt[p++] = 0x5A;
  HAL_UART_Transmit(&huart2, pkt, (uint16_t)p, HAL_MAX_DELAY);
}

/* 蓝牙发送一周期波形。
 * 取点方式与 OLED 波形一致：从中线由负变正的触发点开始，等间隔取整整一个周期。
 * BT_WAVE_FORMAT=1：每点一个 App 数据包（波形 + 6 个测量结果），
 *   波形值归一化到 -950~+950（App 默认纵轴 -1000~+1000，正好铺满）；
 * BT_WAVE_FORMAT=0：旧 ASCII 帧 W,v0,...,v63\r\n。 */
void bt_send_wave(void)
{
  if (g_fund_freq < 1.0f) return;

  float mean = 0.0f;
  for (int n = 0; n < ADC_BUF_SIZE; n++) mean += adc_snap[n];
  mean /= (float)ADC_BUF_SIZE;

  int start = 0;
  for (int n = 1; n < ADC_BUF_SIZE; n++)
  {
    if (((float)adc_snap[n] - mean) >= 0.0f && ((float)adc_snap[n - 1] - mean) < 0.0f)
    { start = n; break; }
  }

  float spp = (float)g_sample_rate / g_fund_freq;   /* 每周期采样点数 */

#if BT_WAVE_FORMAT
  static float col[BT_WAVE_POINTS];
  float vmin = 1e9f, vmax = -1e9f;
  for (int x = 0; x < BT_WAVE_POINTS; x++)
  {
    float idx = (float)start + (float)x * spp / (float)BT_WAVE_POINTS;
    col[x] = adc_sample_at(idx, mean);
    if (col[x] < vmin) vmin = col[x];
    if (col[x] > vmax) vmax = col[x];
  }
  float span = vmax - vmin;
  if (span < 1.0f) span = 1.0f;
  for (int x = 0; x < BT_WAVE_POINTS; x++)
    bt_send_measure_packet(-950.0f + 1900.0f * (col[x] - vmin) / span);
#else
  static char line[420];
  int pos = snprintf(line, sizeof(line), "W");
  for (int x = 0; x < 64; x++)
  {
    if (pos >= (int)sizeof(line) - 10) break;
    float idx = (float)start + (float)x * spp / 64.0f;
    int v = (int)(adc_sample_at(idx, mean) + 0.5f);
    pos += snprintf(line + pos, sizeof(line) - (size_t)pos, ",%d", v);
  }
  pos += snprintf(line + pos, sizeof(line) - (size_t)pos, "\r\n");
  HAL_UART_Transmit(&huart2, (uint8_t *)line, (uint16_t)pos, HAL_MAX_DELAY);
#endif
}

/* 【Phase E】一次完整测量：采集 → THD → 串口 → OLED → 蓝牙。返回耗时(ms)。*/
uint32_t do_one_measurement(void)
{
  uint32_t t0 = HAL_GetTick();

#if USE_ADC_SELF_TEST
  run_adc_chain_self_test();
  compute_thd(0);            /* 不加窗（对比用），结果被下一行覆盖 */
  compute_thd(1);            /* 加汉宁窗（这个结果留全局，供显示/蓝牙） */
#else
  if (g_advanced_mode)
  {
    measure_thd_auto();      /* 发挥部分：500Hz~50kHz，两遍自适应采样率精测 */
  }
  else
  {
    /* 基础部分：1kHz 固定基频。每次测量前重设相干采样率——
     * 从发挥模式切回来时，采样率还停在自适应值上，必须恢复。 */
    set_sample_rate((1000u * FFT_SIZE) / 10u);   /* 目标 102.4kHz，实际 102439Hz */
    compute_thd_avg(USE_HANN_WINDOW, AVG_FRAMES);
  }
#if USE_DEBUG_PRINT
  /* 调试：打印 adc_buf 原始读数统计，验证真实 ADC 采集通路（接线/削顶判断用） */
  uint16_t raw_min = 4095U, raw_max = 0U;
  uint32_t raw_sum = 0U;
  for (int n = 0; n < ADC_BUF_SIZE; n++)
  {
    uint16_t v = adc_snap[n];
    if (v < raw_min) raw_min = v;
    if (v > raw_max) raw_max = v;
    raw_sum += v;
  }
  printf("ADC raw: min=%u max=%u mean=%lu | adc_state=%d dma_state=%d dma_err=%lu NDTR=%lu\r\n",
         raw_min, raw_max, (unsigned long)(raw_sum / ADC_BUF_SIZE),
         (int)hadc1.State, (int)hdma_adc1.State, (unsigned long)hdma_adc1.ErrorCode,
         (unsigned long)hdma_adc1.Instance->NDTR);
  /* 诊断：看基波到底落在哪个 bin、邻近 bin 的幅度（判断泄漏/峰是否抖） */
  int fb = g_f0_bin;
  if (fb < 2) fb = 2;
  if (fb > FFT_SIZE / 2 - 3) fb = FFT_SIZE / 2 - 3;
  printf("dbg: Fs=%lu f0bin=%d zc=%dHz  m[%d-2,..,+2]=%lu %lu %lu %lu %lu\r\n",
         (unsigned long)g_sample_rate, g_f0_bin,
         (int)(estimate_freq_zerocross() + 0.5f), g_f0_bin,
         (unsigned long)fft_mag[fb - 2], (unsigned long)fft_mag[fb - 1],
         (unsigned long)fft_mag[fb], (unsigned long)fft_mag[fb + 1],
         (unsigned long)fft_mag[fb + 2]);
#endif
#endif

  int thd_scaled = (int)(g_thd * 100000.0f + 0.5f);   /* 百分比 ×1000 */
  int h2 = (int)(g_harm[1] * 1000.0f + 0.5f);         /* 归一化幅值 ×1000（printf 不支持 %f） */
  int h3 = (int)(g_harm[2] * 1000.0f + 0.5f);
  int h4 = (int)(g_harm[3] * 1000.0f + 0.5f);
  int h5 = (int)(g_harm[4] * 1000.0f + 0.5f);
  printf("THD = %d.%03d%%  f0 = %d Hz  H2=%d.%03d H3=%d.%03d H4=%d.%03d H5=%d.%03d\r\n",
         thd_scaled / 1000, thd_scaled % 1000, (int)g_fund_freq,
         h2 / 1000, h2 % 1000, h3 / 1000, h3 % 1000,
         h4 / 1000, h4 % 1000, h5 / 1000, h5 % 1000);

  /* OLED 显示：上 4 行文字 + 底部 1 个周期波形 */
  char line[21];
  oled_clear();

  oled_draw_string(0, 0, "THD=");
  oled_ftoa(g_thd * 100.0f, 2, line);
  oled_draw_string(32, 0, line);
  oled_draw_string(80, 0, "%");
  oled_draw_string(100, 0, g_advanced_mode ? "ADV" : "BAS");   /* 当前模式 */

  oled_draw_string(0, 1, "f0=");
  oled_ftoa(g_fund_freq, 0, line);
  oled_draw_string(24, 1, line);
  oled_draw_string(56, 1, "Hz");
  oled_draw_string(72, 1, "H1=");
  oled_draw_harm(90, 1, 1.0f);    /* 基波归一化幅值：按定义为 1.000 */

  oled_draw_string(0, 2, "H2=");
  oled_draw_harm(24, 2, g_harm[1]);
  oled_draw_string(64, 2, "H3=");
  oled_draw_harm(88, 2, g_harm[2]);

  oled_draw_string(0, 3, "H4=");
  oled_draw_harm(24, 3, g_harm[3]);
  oled_draw_string(64, 3, "H5=");
  oled_draw_harm(88, 3, g_harm[4]);

  draw_waveform();           /* 底部：1 个周期波形 */
  oled_update();
  bt_send_result();
#if BT_SEND_WAVE
  bt_send_wave();            /* 发挥部分：手机端显示一周期波形 */
#endif

  uint32_t elapsed = HAL_GetTick() - t0;
  printf("[one-key] elapsed %lu ms (target <3000)\r\n", (unsigned long)elapsed);
  return elapsed;
}

/* 【Phase E】等触发：
 *   短按 PA0（<0.8s）或串口1收到任意字符 → 返回 1，调用方测一次；
 *   长按 PA0（≥0.8s）           → 切换 基础/发挥 模式，返回 0，不测量。 */
int wait_for_trigger(void)
{
  for (;;)
  {
    /* 串口触发：没有按键时，用串口助手发任意字符即可触发一次测量 */
    if (__HAL_UART_GET_FLAG(&huart1, UART_FLAG_RXNE) != RESET)
    {
      volatile uint8_t c = (uint8_t)(huart1.Instance->DR & 0xFFu);  /* 读 DR 清标志 */
      (void)c;
      HAL_Delay(50u);
      return 1;
    }
    /* 按键触发：按下=BTN_PRESSED，去抖后开始计时 */
    if (HAL_GPIO_ReadPin(BTN_PORT, BTN_PIN) == BTN_PRESSED)
    {
      HAL_Delay(20u);
      if (HAL_GPIO_ReadPin(BTN_PORT, BTN_PIN) == BTN_PRESSED)
      {
        int long_press = 0;
        uint32_t t0 = HAL_GetTick();
        while (HAL_GPIO_ReadPin(BTN_PORT, BTN_PIN) == BTN_PRESSED)
        {
          if (HAL_GetTick() - t0 >= LONG_PRESS_MS) { long_press = 1; break; }
          HAL_Delay(10u);
        }
        while (HAL_GPIO_ReadPin(BTN_PORT, BTN_PIN) == BTN_PRESSED) { HAL_Delay(10u); }  /* 等松开 */

        if (long_press)
        {
          g_advanced_mode = !g_advanced_mode;
          printf("[mode] -> %s\r\n", g_advanced_mode ? "advanced" : "basic");
          /* 字库是"或"写入，先清掉这 24 列，避免 ADV/BAS 叠在一起 */
          for (uint8_t x = 100; x < 124; x++) oled_buf[0][x] = 0;
          oled_draw_string(100, 0, g_advanced_mode ? "ADV" : "BAS");
          oled_update();
          return 0;
        }
        return 1;   /* 短按：测一次 */
      }
    }
    HAL_Delay(10u);
  }
}
/* USER CODE END 0 */

int main(void)
{

  /* MCU Configuration--------------------------------------------------------*/

  /* Reset of all peripherals, Initializes the Flash interface and the Systick. */
  HAL_Init();

  /* Configure the system clock */
  SystemClock_Config();

  /* Initialize all configured peripherals */
  MX_GPIO_Init();
  MX_DMA_Init();
  MX_USART1_UART_Init();
  MX_TIM3_Init();
  MX_I2C1_Init();
  MX_ADC1_Init();
  MX_USART2_UART_Init();
  /* USER CODE BEGIN 2 */
  printf("=== THD FW v4 (mode=%s) ===\r\n",
         USE_ADVANCED_MODE ? "advanced" : "basic");
#if USE_DEBUG_PRINT
  /* 【Phase A 自检】验证采样率反算：实际值应≈目标值 */
  printf("Fs test: 100k->%lu  500k->%lu  1.4M->%lu Hz\r\n",
         (unsigned long)set_sample_rate(100000u),
         (unsigned long)set_sample_rate(500000u),
         (unsigned long)set_sample_rate(1400000u));
#endif
#if USE_ADVANCED_MODE
  set_sample_rate(SAMPLE_RATE);   /* 发挥部分：默认 100kHz，实际由自适应测量改写 */
#else
  /* 基础部分：1kHz 固定 → 用【相干采样率】把 1kHz 精确放到整数 bin 上。
   * 目标 Fs = 1000 * N / M（M=10 个周期）≈ 102.4kHz，1kHz 正好落在 bin 10，
   * 2~5 次谐波正好落在 bin 20/30/40/50 → 泄漏≈0，f0 不再抖、THD 稳定。
   * （84MHz 只能整数分频，实际 Fs=84e6/820≈102439Hz，1kHz≈bin 9.992，足够相干。） */
  printf("basic Fs=%lu Hz (coherent for 1kHz)\r\n",
         (unsigned long)set_sample_rate((1000u * FFT_SIZE) / 10u));
#endif

  oled_init();
  HAL_UART_Transmit(&huart2, (uint8_t *)"THD Meter ready\r\n",
                    (uint16_t)(sizeof("THD Meter ready\r\n") - 1), HAL_MAX_DELAY);

#if USE_ADC_SELF_TEST
  run_auto_selftest();            /* Phase B 自测：跑一次，验证自适应采样率 */
#else
#if USE_VREFINT_SELFTEST
  /* 调试：读一次芯片内部 VREFINT，不接任何外部线，单独验证 ADC 内核 + 参考电压。
   * 健康值约 1500（=1.21V/3.3V*4095）。
   * ⚠️ adc_read_vrefint_raw() 内部会 HAL_ADC_Stop()，实测会干扰后面的 DMA 采集
   *    （导致 adc_buf 恒 0），平时务必保持 USE_VREFINT_SELFTEST=0。 */
  printf("VREFINT raw=%lu (健康约 1500)\r\n",
         (unsigned long)adc_read_vrefint_raw());
#endif
  HAL_ADC_Start_DMA(&hadc1, (uint32_t *)adc_buf, ADC_BUF_SIZE);
  HAL_TIM_Base_Start(&htim3);
#endif

#if USE_CONTINUOUS
  printf("连续测量模式\r\n");
#else
  printf("ONE-KEY: short press PA0 (or serial char) = measure; long press 0.8s = toggle mode\r\n");
  do_one_measurement();     /* 上电先测一次，屏幕立即有显示 */
#endif
  /* USER CODE END 2 */

  /* Infinite loop */
  while (1)
  {

    /* USER CODE BEGIN 3 */
#if USE_CONTINUOUS
    do_one_measurement();     /* 连续测量：台上调试方便 */
    HAL_Delay(1000U);
#else
    if (wait_for_trigger())
      do_one_measurement();   /* 短按/串口触发测量；长按只切模式，不测 */
#endif
  }
  /* USER CODE END 3 */
}

void SystemClock_Config(void)
{
  RCC_OscInitTypeDef RCC_OscInitStruct = {0};
  RCC_ClkInitTypeDef RCC_ClkInitStruct = {0};

  /** Configure the main internal regulator output voltage
  */
  __HAL_RCC_PWR_CLK_ENABLE();
  __HAL_PWR_VOLTAGESCALING_CONFIG(PWR_REGULATOR_VOLTAGE_SCALE1);

  /** Initializes the RCC Oscillators according to the specified parameters
  * in the RCC_OscInitTypeDef structure.
  */
  RCC_OscInitStruct.OscillatorType = RCC_OSCILLATORTYPE_HSE;
  RCC_OscInitStruct.HSEState = RCC_HSE_ON;
  RCC_OscInitStruct.PLL.PLLState = RCC_PLL_ON;
  RCC_OscInitStruct.PLL.PLLSource = RCC_PLLSOURCE_HSE;
  RCC_OscInitStruct.PLL.PLLM = 8;
  RCC_OscInitStruct.PLL.PLLN = 336;
  RCC_OscInitStruct.PLL.PLLP = RCC_PLLP_DIV2;
  RCC_OscInitStruct.PLL.PLLQ = 4;
  if (HAL_RCC_OscConfig(&RCC_OscInitStruct) != HAL_OK)
  {
    Error_Handler();
  }

  /** Initializes the CPU, AHB and APB buses clocks
  */
  RCC_ClkInitStruct.ClockType = RCC_CLOCKTYPE_HCLK|RCC_CLOCKTYPE_SYSCLK
                              |RCC_CLOCKTYPE_PCLK1|RCC_CLOCKTYPE_PCLK2;
  RCC_ClkInitStruct.SYSCLKSource = RCC_SYSCLKSOURCE_PLLCLK;
  RCC_ClkInitStruct.AHBCLKDivider = RCC_SYSCLK_DIV1;
  RCC_ClkInitStruct.APB1CLKDivider = RCC_HCLK_DIV4;
  RCC_ClkInitStruct.APB2CLKDivider = RCC_HCLK_DIV2;

  if (HAL_RCC_ClockConfig(&RCC_ClkInitStruct, FLASH_LATENCY_5) != HAL_OK)
  {
    Error_Handler();
  }
}

static void MX_ADC1_Init(void)
{

  ADC_ChannelConfTypeDef sConfig = {0};

  /** Configure the global features of the ADC (Clock, Resolution, Data Alignment and number of conversion)
  */
  hadc1.Instance = ADC1;
  hadc1.Init.ClockPrescaler = ADC_CLOCK_SYNC_PCLK_DIV4;
  hadc1.Init.Resolution = ADC_RESOLUTION_12B;
  hadc1.Init.ScanConvMode = DISABLE;
  hadc1.Init.ContinuousConvMode = DISABLE;
  hadc1.Init.DiscontinuousConvMode = DISABLE;
  hadc1.Init.ExternalTrigConvEdge = ADC_EXTERNALTRIGCONVEDGE_RISING;
  hadc1.Init.ExternalTrigConv = ADC_EXTERNALTRIGCONV_T3_TRGO;
  hadc1.Init.DataAlign = ADC_DATAALIGN_RIGHT;
  hadc1.Init.NbrOfConversion = 1;
  hadc1.Init.DMAContinuousRequests = ENABLE;
  hadc1.Init.EOCSelection = ADC_EOC_SINGLE_CONV;
  if (HAL_ADC_Init(&hadc1) != HAL_OK)
  {
    Error_Handler();
  }

  /** Configure for the selected ADC regular channel its corresponding rank in the sequencer and its sample time.
  */
  sConfig.Channel = ADC_CHANNEL_1;
  sConfig.Rank = 1;
  sConfig.SamplingTime = ADC_SAMPLETIME_3CYCLES;   /* 3周期 @21MHz → 最高约 1.4Msps */
  if (HAL_ADC_ConfigChannel(&hadc1, &sConfig) != HAL_OK)
  {
    Error_Handler();
  }

}

static void MX_I2C1_Init(void)
{

  hi2c1.Instance = I2C1;
  hi2c1.Init.ClockSpeed = 100000;
  hi2c1.Init.DutyCycle = I2C_DUTYCYCLE_2;
  hi2c1.Init.OwnAddress1 = 0;
  hi2c1.Init.AddressingMode = I2C_ADDRESSINGMODE_7BIT;
  hi2c1.Init.DualAddressMode = I2C_DUALADDRESS_DISABLE;
  hi2c1.Init.OwnAddress2 = 0;
  hi2c1.Init.GeneralCallMode = I2C_GENERALCALL_DISABLE;
  hi2c1.Init.NoStretchMode = I2C_NOSTRETCH_DISABLE;
  if (HAL_I2C_Init(&hi2c1) != HAL_OK)
  {
    Error_Handler();
  }

}

static void MX_TIM3_Init(void)
{

  TIM_ClockConfigTypeDef sClockSourceConfig = {0};
  TIM_MasterConfigTypeDef sMasterConfig = {0};

  htim3.Instance = TIM3;
  htim3.Init.Prescaler = 83;
  htim3.Init.CounterMode = TIM_COUNTERMODE_UP;
  htim3.Init.Period = 9;
  htim3.Init.ClockDivision = TIM_CLOCKDIVISION_DIV1;
  htim3.Init.AutoReloadPreload = TIM_AUTORELOAD_PRELOAD_DISABLE;
  if (HAL_TIM_Base_Init(&htim3) != HAL_OK)
  {
    Error_Handler();
  }
  sClockSourceConfig.ClockSource = TIM_CLOCKSOURCE_INTERNAL;
  if (HAL_TIM_ConfigClockSource(&htim3, &sClockSourceConfig) != HAL_OK)
  {
    Error_Handler();
  }
  sMasterConfig.MasterOutputTrigger = TIM_TRGO_UPDATE;
  sMasterConfig.MasterSlaveMode = TIM_MASTERSLAVEMODE_DISABLE;
  if (HAL_TIMEx_MasterConfigSynchronization(&htim3, &sMasterConfig) != HAL_OK)
  {
    Error_Handler();
  }

}

static void MX_USART1_UART_Init(void)
{

  huart1.Instance = USART1;
  huart1.Init.BaudRate = 115200;
  huart1.Init.WordLength = UART_WORDLENGTH_8B;
  huart1.Init.StopBits = UART_STOPBITS_1;
  huart1.Init.Parity = UART_PARITY_NONE;
  huart1.Init.Mode = UART_MODE_TX_RX;
  huart1.Init.HwFlowCtl = UART_HWCONTROL_NONE;
  huart1.Init.OverSampling = UART_OVERSAMPLING_16;
  if (HAL_UART_Init(&huart1) != HAL_OK)
  {
    Error_Handler();
  }

}

static void MX_USART2_UART_Init(void)
{

  huart2.Instance = USART2;
  huart2.Init.BaudRate = 9600;
  huart2.Init.WordLength = UART_WORDLENGTH_8B;
  huart2.Init.StopBits = UART_STOPBITS_1;
  huart2.Init.Parity = UART_PARITY_NONE;
  huart2.Init.Mode = UART_MODE_TX_RX;
  huart2.Init.HwFlowCtl = UART_HWCONTROL_NONE;
  huart2.Init.OverSampling = UART_OVERSAMPLING_16;
  if (HAL_UART_Init(&huart2) != HAL_OK)
  {
    Error_Handler();
  }

}

static void MX_DMA_Init(void)
{

  /* DMA controller clock enable */
  __HAL_RCC_DMA2_CLK_ENABLE();

  /* DMA interrupt init */
  /* DMA2_Stream0_IRQn interrupt configuration */
  HAL_NVIC_SetPriority(DMA2_Stream0_IRQn, 0, 0);
  HAL_NVIC_EnableIRQ(DMA2_Stream0_IRQn);

}

static void MX_GPIO_Init(void)
{

  /* GPIO Ports Clock Enable */
  __HAL_RCC_GPIOH_CLK_ENABLE();
  __HAL_RCC_GPIOA_CLK_ENABLE();
  __HAL_RCC_GPIOB_CLK_ENABLE();

/* USER CODE BEGIN MX_GPIO_Init_2 */
  /* Phase E: 一键启动按键（PA0），输入 + 内部下拉（按下=高电平） */
  GPIO_InitTypeDef btn = {0};
  btn.Pin = BTN_PIN;
  btn.Mode = GPIO_MODE_INPUT;
  btn.Pull = GPIO_PULLDOWN;
  btn.Speed = GPIO_SPEED_FREQ_LOW;
  HAL_GPIO_Init(BTN_PORT, &btn);
/* USER CODE END MX_GPIO_Init_2 */
}

void Error_Handler(void)
{
  __disable_irq();
  while (1)
  {
  }
}
